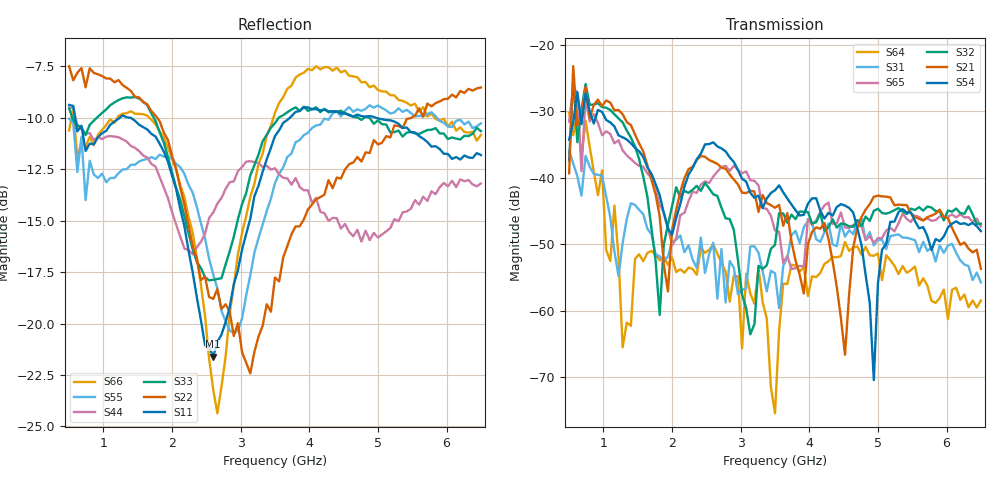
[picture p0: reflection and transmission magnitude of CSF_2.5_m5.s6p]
!Keysight Technologies,M9804A,MY58100912,A.14.10.03
!Date: Thursday, April 27, 2023 10:28:33
!Correction: S11(C  6-Port  )
!S12(C  6-Port  )
!S13(C  6-Port  )
!S14(C  6-Port  )
!S15(C  6-Port  )
!S16(C  6-Port  )
!S21(C  6-Port  )
!S22(C  6-Port  )
!S23(C  6-Port  )
!S24(C  6-Port  )
!S25(C  6-Port  )
!S26(C  6-Port  )
!S31(C  6-Port  )
!S32(C  6-Port  )
!S33(C  6-Port  )
!S34(C  6-Port  )
!S35(C  6-Port  )
!S36(C  6-Port  )
!S41(C  6-Port  )
!S42(C  6-Port  )
!S43(C  6-Port  )
!S44(C  6-Port  )
!S45(C  6-Port  )
!S46(C  6-Port  )
!S51(C  6-Port  )
!S52(C  6-Port  )
!S53(C  6-Port  )
!S54(C  6-Port  )
!S55(C  6-Port  )
!S56(C  6-Port  )
!S61(C  6-Port  )
!S62(C  6-Port  )
!S63(C  6-Port  )
!S64(C  6-Port  )
!S65(C  6-Port  )
!S66(C  6-Port  )
!S6P File: Measurement: :
# Hz S  RI  R 50
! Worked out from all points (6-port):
!   101 points, 500 MHz to 6.5 GHz, reference 50 ohm
!   strongest paths, dB at 500 MHz, 2 GHz, 3.5 GHz, 5 GHz, 6.5 GHz:
!     S54: -34.3, -48.6, -41.9, -55.9, -48.0
!     S21: -39.4, -47.8, -44.5, -42.7, -53.7
!     S32: -37.5, -44.3, -50.1, -44.7, -46.9
!     S65: -31.6, -50.2, -48.0, -49.1, -47.3
!     S31: -35.9, -49.7, -54.4, -49.4, -55.8
!     S64: -30.2, -52.0, -75.4, -51.4, -58.5
!   lowest |S11| = -21.6 dB at 2.6 GHz (marker M1), VSWR 1.18, Z = 42.6 + j2.06 ohm
!   |S11| at or under -10 dB: 588 MHz to 1.237 GHz (648.9 MHz wide, 71.1 % of centre); 1.395 GHz to 3.715 GHz (2.32 GHz wide, 90.8 % of centre); 4.974 GHz to end of sweep
